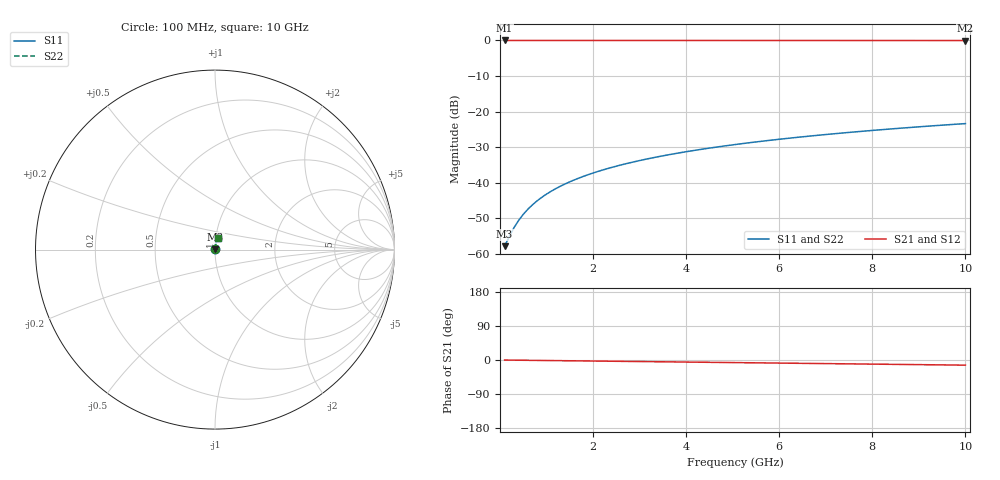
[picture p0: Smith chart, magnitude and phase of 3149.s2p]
# Hz S RI R 50.00
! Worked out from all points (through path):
!   100 points, 100 MHz to 10 GHz, reference 50 ohm
!   highest |S21| = -0.01 dB at 100 MHz (marker M1); lowest = 0.0 dB at 10 GHz (marker M2)
!   group delay of S21, straight-line fit = 3.78 ps
!   lowest |S11| = -57.9 dB at 100 MHz (marker M3), VSWR 1.00, Z = 50.1 + j0.068 ohm
!   |S11| at or under -10 dB: start of sweep to end of sweep
!   |S22| runs from -57.9 to -23.4 dB; largest |S21 - S12| = 0
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1e8  0.00108 0.000678  0.9989 -0.00236  0.9989 -0.00236  0.00108 0.000678
2e8  0.0011 0.00136  0.9989 -0.00472  0.9989 -0.00472  0.0011 0.00136
3e8  0.00111 0.00203  0.9989 -0.00708  0.9989 -0.00708  0.00111 0.00203
4e8  0.00112 0.00271  0.9988 -0.00944  0.9988 -0.00944  0.00112 0.00271
5e8  0.00114 0.00339  0.9988 -0.0118  0.9988 -0.0118  0.00114 0.00339
6e8  0.00116 0.00407  0.9988 -0.0142  0.9988 -0.0142  0.00116 0.00407
7e8  0.00118 0.00475  0.9987 -0.0165  0.9987 -0.0165  0.00118 0.00475
9e8  0.00124 0.0061  0.9986 -0.0212  0.9986 -0.0212  0.00124 0.0061
1e9  0.00127 0.00678  0.9986 -0.0236  0.9986 -0.0236  0.00127 0.00678
1.2e9  0.00134 0.00813  0.9984 -0.0283  0.9984 -0.0283  0.00134 0.00813
1.5e9  0.00148 0.0102  0.9982 -0.0354  0.9982 -0.0354  0.00148 0.0102
1.8e9  0.00164 0.0122  0.9979 -0.0425  0.9979 -0.0425  0.00164 0.0122
2.1e9  0.00183 0.0142  0.9975 -0.0496  0.9975 -0.0496  0.00183 0.0142
2.5e9  0.00213 0.0169  0.9969 -0.059  0.9969 -0.059  0.00213 0.0169
2.9e9  0.00248 0.0196  0.9963 -0.0684  0.9963 -0.0684  0.00248 0.0196
3.4e9  0.00298 0.023  0.9953 -0.0802  0.9953 -0.0802  0.00298 0.023
4.2e9  0.00396 0.0283  0.9935 -0.0991  0.9935 -0.0991  0.00396 0.0283
5.1e9  0.0053 0.0343  0.9909 -0.1202  0.9909 -0.1202  0.0053 0.0343
5.9e9  0.00671 0.0395  0.9882 -0.139  0.9882 -0.139  0.00671 0.0395
6.7e9  0.00831 0.0447  0.9852 -0.1577  0.9852 -0.1577  0.00831 0.0447
8.4e9  0.0124 0.0556  0.9774 -0.1973  0.9774 -0.1973  0.0124 0.0556
1e10  0.017 0.0655  0.9685 -0.2343  0.9685 -0.2343  0.017 0.0655
